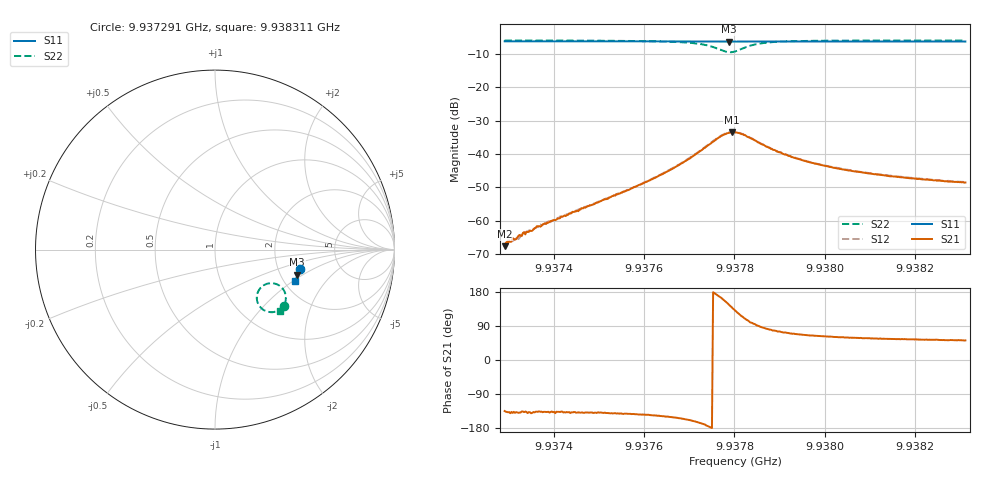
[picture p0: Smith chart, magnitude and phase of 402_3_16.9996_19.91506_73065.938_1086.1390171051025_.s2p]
#  HZ  S  RI  R  50.00
! Rohde & Schwarz Vector Network Analyzer
! Rohde-Schwarz,ZNB20-2Port,1311601062101988,3.16
! Created: UTC 3/20/2024, 11:10:06 PM
! freq[Hz]  re:S11  im:S11  re:S21  im:S21  re:S12  im:S12  re:S22  im:S22
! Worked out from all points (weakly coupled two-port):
!   401 points, 9.937291 GHz to 9.938311 GHz, reference 50 ohm
!   highest |S21| = -33.52 dB at 9.937794 GHz (marker M1); lowest = -67.5 dB at 9.937291 GHz (marker M2)
!   lowest |S11| = -6.4 dB at 9.937789 GHz (marker M3), VSWR 2.84, Z = 123 - j44.5 ohm
!   |S11| at or under -10 dB: nowhere
!   |S22| runs from -9.6 to -6.1 dB; largest |S21 - S12| = 0.00089
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9.9372911e9  0.4715 -0.1077  -0.000295 -0.000298  -0.000338 -0.000293  0.3848 -0.3162
9.9373217e9  0.4708 -0.1098  -0.000451 -0.000389  -0.000392 -0.000363  0.3824 -0.3183
9.9373345e9  0.4704 -0.1108  -0.0005 -0.000456  -0.000506 -0.00046  0.3814 -0.3192
9.9373498e9  0.4703 -0.1118  -0.000546 -0.000448  -0.00054 -0.000485  0.3802 -0.3204
9.9373625e9  0.47 -0.1127  -0.000604 -0.000576  -0.000601 -0.000554  0.3792 -0.3212
9.937462e9  0.4679 -0.1192  -0.00116 -0.00104  -0.00117 -0.00101  0.3695 -0.3292
9.9375615e9  0.4655 -0.1259  -0.00224 -0.00177  -0.00229 -0.00175  0.355 -0.3383
9.9376329e9  0.4639 -0.1309  -0.00398 -0.00259  -0.00407 -0.00255  0.3368 -0.3458
9.9376839e9  0.4624 -0.1343  -0.00661 -0.0031  -0.00679 -0.00304  0.3128 -0.3489
9.9377324e9  0.4607 -0.1374  -0.012 -0.00225  -0.0122 -0.00197  0.2696 -0.3359
9.9377707e9  0.4588 -0.1392  -0.0179 0.00506  -0.018 0.00574  0.2327 -0.2716
9.9377885e9  0.4582 -0.1395  -0.017 0.0119  -0.0171 0.0125  0.248 -0.2206
9.9377936e9  0.4583 -0.1396  -0.0161 0.0137  -0.0158 0.0144  0.259 -0.2081
9.9378013e9  0.4583 -0.1398  -0.0137 0.0159  -0.0135 0.0164  0.2796 -0.1944
9.9378191e9  0.4585 -0.1404  -0.00782 0.0181  -0.0072 0.0184  0.3302 -0.1886
9.9378548e9  0.4587 -0.143  0.000245 0.0148  0.000564 0.0148  0.3843 -0.2276
9.9378956e9  0.4581 -0.1461  0.0028 0.0104  0.00295 0.0105  0.395 -0.2656
9.9379314e9  0.4572 -0.1487  0.00305 0.00827  0.00334 0.00829  0.3936 -0.2854
9.9379722e9  0.4562 -0.1515  0.00317 0.00665  0.00335 0.00668  0.3894 -0.2998
9.9380487e9  0.4544 -0.1565  0.00291 0.00496  0.00306 0.00496  0.3811 -0.3161
9.9381431e9  0.4517 -0.1627  0.00262 0.00387  0.00273 0.00388  0.3728 -0.3284
9.9383114e9  0.447 -0.1735  0.00233 0.00294  0.0024 0.00293  0.3599 -0.3429
